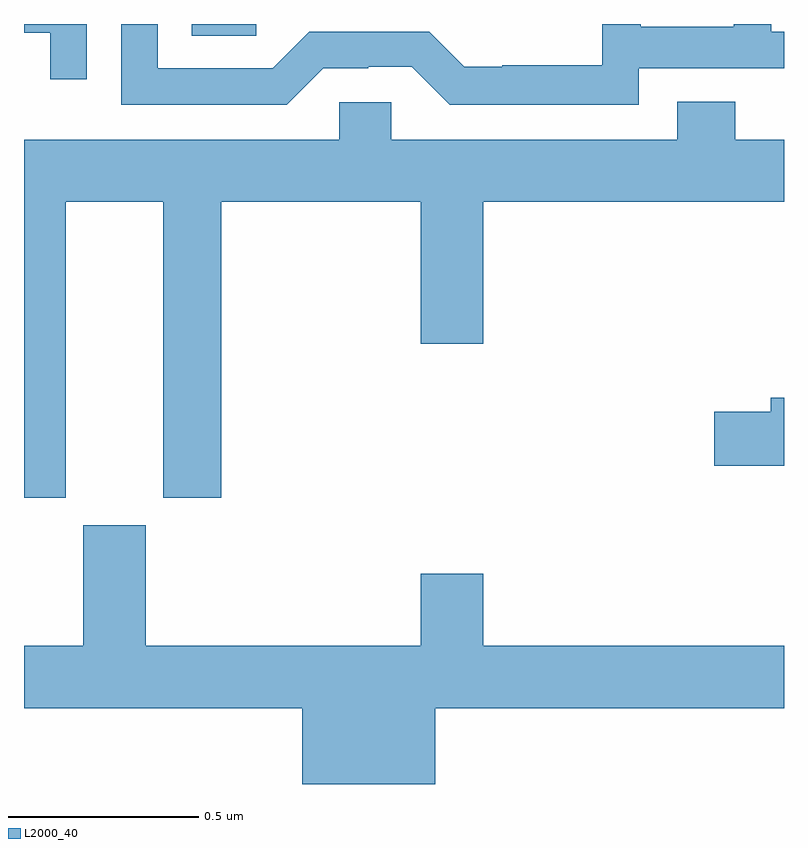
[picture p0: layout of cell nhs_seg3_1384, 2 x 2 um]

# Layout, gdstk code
import gdstk
lib = gdstk.Library(unit=1e-6, precision=1e-09)
def R(c, l, rs):  # rectangles x0, y0, x1, y1
    for r in rs: c.add(gdstk.rectangle(r[:2], r[2:], *l))
def P(c, l, *ps):  # polygons
    for p in ps: c.add(gdstk.Polygon(p, *l))
L2000_40 = (2000, 40)

nhs_seg3_1384 = lib.new_cell('nhs_seg3_1384')
R(nhs_seg3_1384, L2000_40, [(128.442,685.369,128.611,685.4)])
P(nhs_seg3_1384, L2000_40, [(128.165,685.4),(128,685.4),(128,685.377),(128.069,685.377),(128.069,685.254),(128.165,685.254)],
  [(129.618,685.284),(130,685.284),(130,685.38),(129.966,685.38),(129.966,685.4),(129.868,685.4),(129.868,685.393),(129.623,685.393),(129.623,685.4),(129.522,685.4),(129.522,685.291),(129.259,685.291),(129.259,685.287),(129.159,685.287),(129.066,685.38),(128.751,685.38),(128.655,685.284),(128.352,685.284),(128.352,685.4),(128.256,685.4),(128.256,685.188),(128.691,685.188),(128.787,685.284),(128.906,685.284),(128.906,685.287),(129.021,685.287),(129.121,685.187),(129.618,685.187)],
  [(128.11,684.932),(128.366,684.932),(128.366,684.153),(128.519,684.153),(128.519,684.932),(129.044,684.932),(129.044,684.558),(129.208,684.558),(129.208,684.932),(130,684.932),(130,685.096),(129.872,685.096),(129.872,685.195),(129.719,685.195),(129.719,685.096),(128.967,685.096),(128.967,685.194),(128.829,685.194),(128.829,685.096),(128,685.096),(128,684.153),(128.11,684.153)],
  [(130,684.416),(129.965,684.416),(129.965,684.38),(129.816,684.38),(129.816,684.238),(130,684.238)],
  [(129.082,683.6),(130,683.6),(130,683.764),(129.208,683.764),(129.208,683.953),(129.044,683.953),(129.044,683.764),(128.32,683.764),(128.32,684.081),(128.156,684.081),(128.156,683.764),(128,683.764),(128,683.6),(128.732,683.6),(128.732,683.4),(129.082,683.4)])

lib.write_gds('nhs_seg3_1384.gds')
